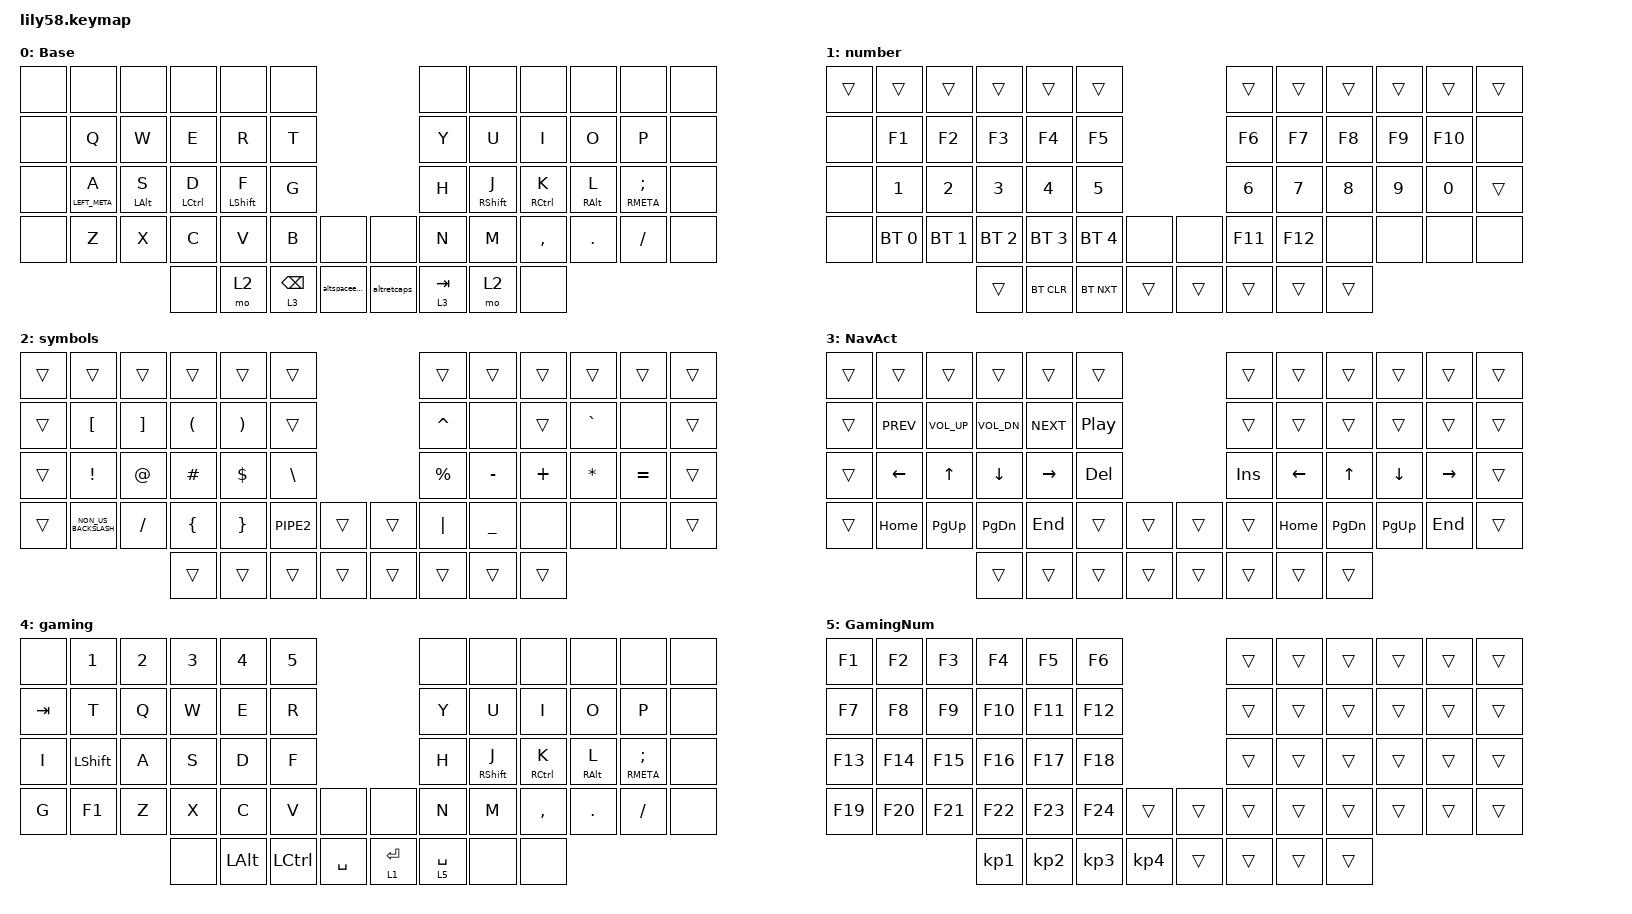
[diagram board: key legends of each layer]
#include <behaviors.dtsi>
#include <dt-bindings/zmk/bt.h>
#include <dt-bindings/zmk/keys.h>

#define BT_SSP_DISABLE 1

/ {
    behaviors {
        hm: homerow_mods {
            compatible = "zmk,behavior-hold-tap";
            label = "HOMEROW_MODS";
            bindings = <&kp>, <&kp>;

            #binding-cells = <2>;
            tapping-term-ms = <200>;
            flavor = "tap-preferred";
            require-prior-idle-ms = <125>;
            quick-tap-ms = <200>;
        };

        shifthr: shifthr {
            compatible = "zmk,behavior-hold-tap";
            label = "SHIFTHR";
            bindings = <&kp>, <&kp>;

            #binding-cells = <2>;
            tapping-term-ms = <185>;
            flavor = "tap-preferred";
            quick-tap-ms = <185>;
        };

        weak: weak {
            compatible = "zmk,behavior-hold-tap";
            label = "WEAK";
            bindings = <&kp>, <&kp>;

            #binding-cells = <2>;
            tapping-term-ms = <230>;
            flavor = "tap-preferred";
            require-prior-idle-ms = <125>;
            quick-tap-ms = <230>;
        };

        backspace: backspace {
            compatible = "zmk,behavior-tap-dance";
            label = "BACKSPACE";
            #binding-cells = <0>;
            bindings = <&kp BACKSPACE>, <&kp LC(BACKSPACE)>;
        };

        altspaceescape: altspaceescape {
            compatible = "zmk,behavior-mod-morph";
            label = "ALTSPACEESCAPE";
            bindings = <&lt 1 SPACE>, <&kp ESCAPE>;

            #binding-cells = <0>;
            mods = <(MOD_LALT)>;
        };

        altretcaps: altretcaps {
            compatible = "zmk,behavior-mod-morph";
            label = "ALTRETCAPS";
            bindings = <&lt 1 RET>, <&kp CAPS>;

            #binding-cells = <0>;
            mods = <(MOD_RALT)>;
        };
    };

    combos {
        compatible = "zmk,combos";

        togglegamelayer {
            bindings = <&tog 5>;
            key-positions = <38 37>;
        };

        game-escape {
            bindings = <&kp ESCAPE>;
            key-positions = <2 1>;
            layers = <5 4>;
        };

        gaming-enter {
            bindings = <&kp ENTER>;
            key-positions = <4 3>;
            layers = <5 4>;
        };
    };

    macros {
        email: email {
            compatible = "zmk,behavior-macro";
            #binding-cells = <0>;
            bindings = <&kp J &kp O &kp E &kp DOT &kp P &kp R &kp I &kp N &kp G &kp L &kp E &kp AT &kp P &kp R &kp O &kp T &kp O &kp N &kp DOT &kp M &kp E>;
            label = "EMAIL";
        };

        switch_to_linux: switch_to_linux {
            compatible = "zmk,behavior-macro";
            #binding-cells = <0>;
            bindings = <&bt BT_SEL 0 &tog 0>;
            label = "SWITCH_TO_LINUX";
        };

        switch_to_windows: switch_to_windows {
            compatible = "zmk,behavior-macro";
            #binding-cells = <0>;
            bindings = <&bt BT_SEL 1 &tog 0>;
            label = "SWITCH_TO_WINDOWS";
        };
    };

    keymap {
        compatible = "zmk,keymap";

        base {
            display-name = "Base";
            bindings = <
&none  &none              &none             &none                    &none                  &none                                            &none      &none             &none             &none              &none             &none
&none  &kp Q              &kp W             &kp E                    &kp R                  &kp T                                            &kp Y      &kp U             &kp I             &kp O              &kp P             &none
&none  &weak LEFT_META A  &weak LEFT_ALT S  &shifthr LEFT_CONTROL D  &shifthr LEFT_SHIFT F  &kp G                                            &kp H      &shifthr RSHFT J  &shifthr RCTRL K  &weak RIGHT_ALT L  &weak RMETA SEMI  &none
&none  &kp Z              &kp X             &kp C                    &kp V                  &kp B            &none              &none        &kp N      &kp M             &kp COMMA         &kp PERIOD         &kp FSLH          &none
                                            &none                    &mo 2                  &lt 3 BACKSPACE  &altspaceescape    &altretcaps  &lt 3 TAB  &mo 2             &none
            >;
        };

        NumBtl {
            display-name = "number";
            bindings = <
&trans  &trans        &trans        &trans        &trans        &trans                          &trans        &trans        &trans        &trans        &trans        &trans
&none   &kp F1        &kp F2        &kp F3        &kp F4        &kp F5                          &kp F6        &kp F7        &kp F8        &kp F9        &kp F10       &none
&none   &kp NUMBER_1  &kp NUMBER_2  &kp NUMBER_3  &kp NUMBER_4  &kp NUMBER_5                    &kp NUMBER_6  &kp NUMBER_7  &kp NUMBER_8  &kp NUMBER_9  &kp NUMBER_0  &trans
&none   &bt BT_SEL 0  &bt BT_SEL 1  &bt BT_SEL 2  &bt BT_SEL 3  &bt BT_SEL 4  &none     &none   &kp F11       &kp F12       &none         &none         &none         &none
                                    &trans        &bt BT_CLR    &bt BT_NXT    &trans    &trans  &trans        &trans        &trans
            >;
        };

        symbols {
            bindings = <
&trans  &trans                &trans             &trans                &trans                 &trans                           &trans       &trans     &trans    &trans     &trans     &trans
&trans  &kp LEFT_BRACKET      &kp RIGHT_BRACKET  &kp LEFT_PARENTHESIS  &kp RIGHT_PARENTHESIS  &trans                           &kp CARET    &none      &trans    &kp GRAVE  &none      &trans
&trans  &kp EXCL              &kp AT             &kp HASH              &kp DOLLAR             &kp BACKSLASH                    &kp PERCENT  &kp MINUS  &kp PLUS  &kp STAR   &kp EQUAL  &trans
&trans  &kp NON_US_BACKSLASH  &kp SLASH          &kp LEFT_BRACE        &kp RIGHT_BRACE        &kp PIPE2      &trans    &trans  &kp PIPE     &kp UNDER  &none     &none      &none      &trans
                                                 &trans                &trans                 &trans         &trans    &trans  &trans       &trans     &trans
            >;
        };

        NavAct {
            bindings = <
&trans  &trans      &trans           &trans          &trans      &trans                        &trans   &trans          &trans        &trans          &trans           &trans
&trans  &kp C_PREV  &kp C_VOLUME_UP  &kp C_VOL_DN    &kp C_NEXT  &kp C_PP                      &trans   &trans          &trans        &trans          &trans           &trans
&trans  &kp LEFT    &kp UP_ARROW     &kp DOWN_ARROW  &kp RIGHT   &kp DELETE                    &kp INS  &kp LEFT_ARROW  &kp UP_ARROW  &kp DOWN_ARROW  &kp RIGHT_ARROW  &trans
&trans  &kp HOME    &kp PG_UP        &kp PAGE_DOWN   &kp END     &trans      &trans    &trans  &trans   &kp HOME        &kp PG_DN     &kp PG_UP       &kp END          &trans
                                     &trans          &trans      &trans      &trans    &trans  &trans   &trans          &trans
            >;
        };

        gaming {
            display-name = "gaming";
            bindings = <
&none    &kp NUMBER_1    &kp NUMBER_2  &kp NUMBER_3  &kp NUMBER_4  &kp N5                                    &none        &none             &none             &none              &none             &none
&kp TAB  &kp T           &kp Q         &kp W         &kp E         &kp R                                     &kp Y        &kp U             &kp I             &kp O              &kp P             &none
&kp I    &kp LEFT_SHIFT  &kp A         &kp S         &kp D         &kp F                                     &kp H        &shifthr RSHFT J  &shifthr RCTRL K  &weak RIGHT_ALT L  &weak RMETA SEMI  &none
&kp G    &kp F1          &kp Z         &kp X         &kp C         &kp V             &none        &none      &kp N        &kp M             &kp COMMA         &kp DOT            &kp FSLH          &none
                                       &none         &kp LEFT_ALT  &kp LEFT_CONTROL  &kp SPACE    &lt 1 RET  &lt 5 SPACE  &none             &none
            >;
        };

        GamingNum {
            bindings = <
&kp F1   &kp F2   &kp F3   &kp F4     &kp F5     &kp F6                          &trans  &trans  &trans  &trans  &trans  &trans
&kp F7   &kp F8   &kp F9   &kp F10    &kp F11    &kp F12                         &trans  &trans  &trans  &trans  &trans  &trans
&kp F13  &kp F14  &kp F15  &kp F16    &kp F17    &kp F18                         &trans  &trans  &trans  &trans  &trans  &trans
&kp F19  &kp F20  &kp F21  &kp F22    &kp F23    &kp F24    &trans       &trans  &trans  &trans  &trans  &trans  &trans  &trans
                           &kp KP_N1  &kp KP_N2  &kp KP_N3  &kp KP_N4    &trans  &trans  &trans  &trans
            >;
        };
    };
};

